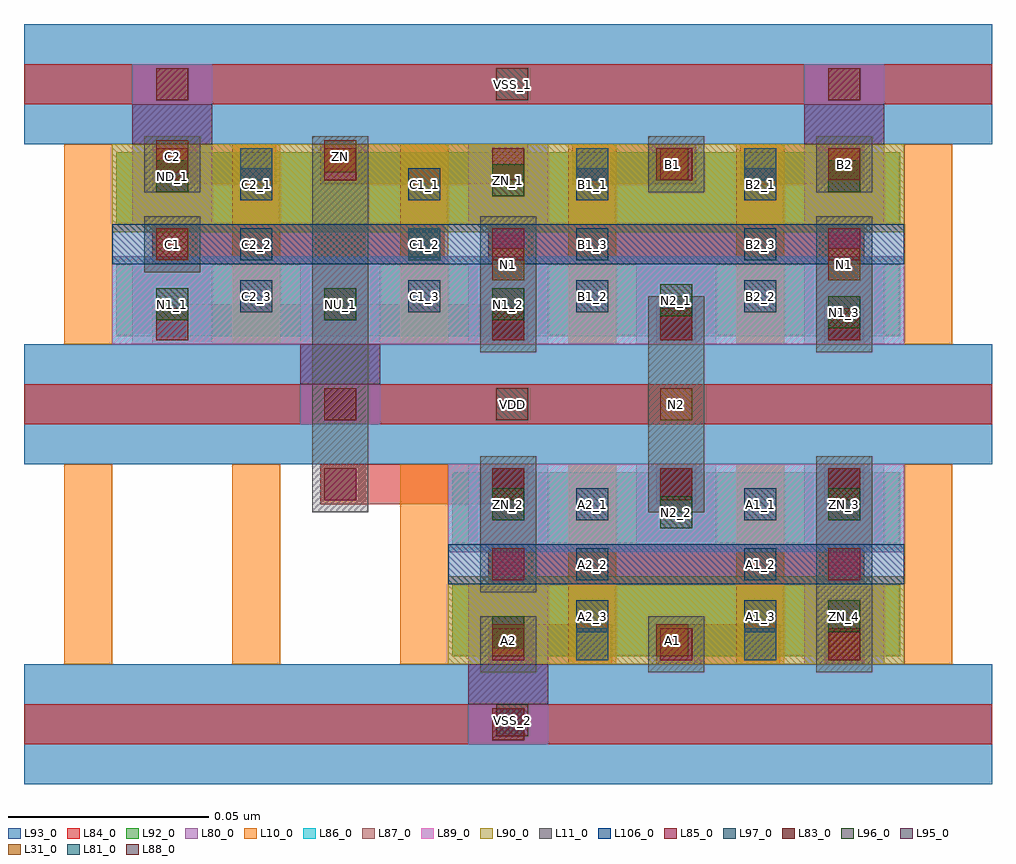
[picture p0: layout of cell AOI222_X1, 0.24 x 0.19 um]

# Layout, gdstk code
import gdstk
lib = gdstk.Library(unit=1e-6, precision=1e-09)
def R(c, l, rs):  # rectangles x0, y0, x1, y1
    for r in rs: c.add(gdstk.rectangle(r[:2], r[2:], *l))
def A(c, l, x, y, w, h, nx, ny, dx, dy):  # array of equal rectangles
    R(c, l, [(x+i*dx, y+j*dy, x+i*dx+w, y+j*dy+h) for i in range(nx) for j in range(ny)])
L10_0 = (10, 0)
L11_0 = (11, 0)
L31_0 = (31, 0)
L80_0 = (80, 0)
L81_0 = (81, 0)
L83_0 = (83, 0)
L84_0 = (84, 0)
L85_0 = (85, 0)
L86_0 = (86, 0)
L87_0 = (87, 0)
L88_0 = (88, 0)
L89_0 = (89, 0)
L90_0 = (90, 0)
L92_0 = (92, 0)
L93_0 = (93, 0)
L95_0 = (95, 0)
L96_0 = (96, 0)
L97_0 = (97, 0)
L106_0 = (106, 0)

aoi222_x1 = lib.new_cell('AOI222_X1')
A(aoi222_x1, L10_0, -0.027, -0.065, 0.012, 0.05, 6, 2, 0.042, 0.08)
A(aoi222_x1, L11_0, 0.035, -0.027, 0.014, 0.034, 1, 4, 0, 0.02)
R(aoi222_x1, L11_0, [(0.077,-0.067,0.091,-0.053), (0.119,-0.067,0.133,-0.053), (0.161,-0.067,0.175,-0.033), (0.077,-0.047,0.091,-0.013), (0.161,-0.047,0.175,-0.013), (0.119,-0.027,0.133,0.007), (0.119,-0.007,0.133,0.027), (0.077,0.013,0.091,0.047), (0.161,0.013,0.175,0.047), (-0.007,0.033,0.007,0.047), (-0.007,0.053,0.007,0.067), (0.119,0.053,0.133,0.067), (0.161,0.053,0.175,0.067)])
R(aoi222_x1, L31_0, [(0.08,-0.063,0.088,-0.055), (0.121,-0.063,0.129,-0.055), (0.122,-0.004,0.13,0.004), (0.08,0.031,0.088,0.039), (0.164,0.031,0.172,0.039), (-0.004,0.036,0.004,0.044), (0.121,0.056,0.129,0.064), (0.164,0.056,0.172,0.064), (-0.004,0.058,0.004,0.066), (0.038,0.058,0.046,0.066)])
A(aoi222_x1, L80_0, -0.01, 0.015, 0.02, 0.02, 5, 1, 0.042, 0)
R(aoi222_x1, L80_0, [(0.074,-0.085,0.094,-0.064), (0.074,-0.065,0.094,-0.045), (0.158,-0.065,0.178,-0.045), (0.074,-0.035,0.094,-0.015), (0.074,-0.035,0.094,-0.015), (0.116,-0.035,0.136,-0.015), (0.116,-0.035,0.136,-0.015), (0.158,-0.035,0.178,-0.015), (0.158,-0.035,0.178,-0.015), (0.032,-0.005,0.052,0.016), (-0.01,0.045,0.01,0.065), (-0.01,0.045,0.01,0.065), (0.074,0.045,0.094,0.065), (0.074,0.045,0.094,0.065), (0.158,0.045,0.178,0.065), (0.158,0.045,0.178,0.065), (-0.01,0.056,0.01,0.085), (0.158,0.056,0.178,0.085)])
R(aoi222_x1, L81_0, [(0.101,-0.064,0.109,-0.056), (0.143,-0.064,0.151,-0.056), (0.059,0.036,0.067,0.044), (0.017,0.056,0.025,0.064), (0.101,0.056,0.109,0.064), (0.143,0.056,0.151,0.064)])
A(aoi222_x1, L83_0, 0.08, -0.024, 0.008, 0.008, 3, 2, 0.042, 0.04)
R(aoi222_x1, L83_0, [(0.08,-0.084,0.088,-0.076), (0.164,-0.064,0.172,-0.056), (0.038,-0.004,0.046,0.004), (-0.004,0.016,0.004,0.024), (0.08,0.056,0.088,0.064), (-0.004,0.076,0.004,0.084), (0.164,0.076,0.172,0.084)])
A(aoi222_x1, L84_0, -0.037, -0.085, 0.242, 0.01, 1, 3, 0, 0.08)
A(aoi222_x1, L84_0, 0.163, -0.065, 0.01, 0.01, 1, 3, 0, 0.04)
A(aoi222_x1, L84_0, 0.079, -0.045, 0.031, 0.01, 4, 2, 0.021, 0.08)
A(aoi222_x1, L84_0, -0.005, 0.015, 0.031, 0.01, 4, 1, 0.021, 0)
A(aoi222_x1, L84_0, 0.058, 0.055, 0.031, 0.01, 3, 1, 0.042, 0)
R(aoi222_x1, L84_0, [(0.079,-0.065,0.11,-0.055), (0.121,-0.065,0.152,-0.055), (0.037,-0.025,0.068,-0.015), (0.058,-0.025,0.089,-0.015), (0.121,-0.025,0.131,-0.015), (0.121,0.015,0.131,0.025), (-0.005,0.035,0.068,0.045), (-0.005,0.055,0.026,0.065), (0.037,0.055,0.068,0.065)])
A(aoi222_x1, L85_0, 0.08, -0.064, 0.008, 0.008, 3, 2, 0.042, 0.08)
A(aoi222_x1, L85_0, 0.038, -0.024, 0.008, 0.008, 4, 1, 0.042, 0)
A(aoi222_x1, L85_0, -0.004, 0.036, 0.008, 0.008, 3, 1, 0.084, 0)
R(aoi222_x1, L85_0, [(0.08,-0.044,0.088,-0.036), (0.164,-0.044,0.172,-0.036), (-0.004,0.056,0.004,0.064), (0.038,0.056,0.046,0.064), (0.122,0.056,0.13,0.064), (0.164,0.056,0.172,0.064)])
R(aoi222_x1, L86_0, [(0.069,-0.037,0.183,-0.015), (-0.015,0.015,0.183,0.037)])
R(aoi222_x1, L87_0, [(0.069,-0.065,0.183,-0.043), (-0.015,0.043,0.183,0.065)])
R(aoi222_x1, L88_0, [(0.081,-0.083,0.089,-0.075), (0.081,-0.004,0.089,0.004), (0.081,0.076,0.089,0.084)])
R(aoi222_x1, L89_0, [(0.069,-0.037,0.183,-0.015), (-0.015,0.015,0.183,0.037)])
R(aoi222_x1, L90_0, [(0.069,-0.065,0.183,-0.043), (-0.015,0.043,0.183,0.065)])
R(aoi222_x1, L92_0, [(0.07,-0.063,0.182,-0.045), (0.07,-0.035,0.182,-0.017), (-0.014,0.017,0.182,0.035), (-0.014,0.045,0.182,0.063)])
A(aoi222_x1, L93_0, -0.037, -0.095, 0.242, 0.03, 1, 3, 0, 0.08)
R(aoi222_x1, L95_0, [(0.074,-0.075,0.094,-0.065), (0.032,0.005,0.052,0.015), (-0.01,0.065,0.01,0.075), (0.158,0.065,0.178,0.075)])
A(aoi222_x1, L96_0, -0.004, 0.021, 0.008, 0.008, 3, 1, 0.042, 0)
R(aoi222_x1, L96_0, [(0.08,-0.061,0.088,-0.053), (0.164,-0.057,0.172,-0.049), (0.122,-0.031,0.13,-0.023), (0.08,-0.029,0.088,-0.021), (0.164,-0.029,0.172,-0.021), (0.164,0.019,0.172,0.027), (0.122,0.022,0.13,0.03), (0.08,0.052,0.088,0.06), (-0.004,0.053,0.004,0.061), (0.164,0.053,0.172,0.061)])
A(aoi222_x1, L97_0, 0.017, 0.023, 0.008, 0.008, 4, 2, 0.042, 0.013)
A(aoi222_x1, L97_0, 0.017, 0.051, 0.008, 0.008, 4, 1, 0.042, 0)
R(aoi222_x1, L97_0, [(0.101,-0.057,0.109,-0.049), (0.143,-0.057,0.151,-0.049), (0.101,-0.044,0.109,-0.036), (0.143,-0.044,0.151,-0.036), (0.101,-0.029,0.109,-0.021), (0.143,-0.029,0.151,-0.021)])
R(aoi222_x1, L106_0, [(0.069,-0.045,0.183,-0.035), (-0.015,0.035,0.183,0.045)])
aoi222_x1.add(gdstk.Label('VDD', (0.085,0), layer=88, texttype=0))
aoi222_x1.add(gdstk.Label('VSS_1', (0.085,0.08), layer=88, texttype=0))
aoi222_x1.add(gdstk.Label('VSS_2', (0.085,-0.079), layer=88, texttype=0))
aoi222_x1.add(gdstk.Label('N2', (0.126,0), layer=31, texttype=0))
aoi222_x1.add(gdstk.Label('N1', (0.168,0.035), layer=31, texttype=0))
aoi222_x1.add(gdstk.Label('N1', (0.084,0.035), layer=31, texttype=0))
aoi222_x1.add(gdstk.Label('A2', (0.084,-0.059), layer=31, texttype=0))
aoi222_x1.add(gdstk.Label('ZN', (0.042,0.062), layer=31, texttype=0))
aoi222_x1.add(gdstk.Label('A1', (0.125,-0.059), layer=31, texttype=0))
aoi222_x1.add(gdstk.Label('B2', (0.168,0.06), layer=31, texttype=0))
aoi222_x1.add(gdstk.Label('B1', (0.125,0.06), layer=31, texttype=0))
aoi222_x1.add(gdstk.Label('C1', (0,0.04), layer=31, texttype=0))
aoi222_x1.add(gdstk.Label('C2', (0,0.062), layer=31, texttype=0))
aoi222_x1.add(gdstk.Label('A1_3', (0.147,-0.053), layer=97, texttype=0))
aoi222_x1.add(gdstk.Label('A1_2', (0.147,-0.04), layer=97, texttype=0))
aoi222_x1.add(gdstk.Label('A1_1', (0.147,-0.025), layer=97, texttype=0))
aoi222_x1.add(gdstk.Label('A2_1', (0.105,-0.025), layer=97, texttype=0))
aoi222_x1.add(gdstk.Label('A2_2', (0.105,-0.04), layer=97, texttype=0))
aoi222_x1.add(gdstk.Label('A2_3', (0.105,-0.053), layer=97, texttype=0))
aoi222_x1.add(gdstk.Label('B2_2', (0.147,0.027), layer=97, texttype=0))
aoi222_x1.add(gdstk.Label('B2_1', (0.147,0.055), layer=97, texttype=0))
aoi222_x1.add(gdstk.Label('B2_3', (0.147,0.04), layer=97, texttype=0))
aoi222_x1.add(gdstk.Label('B1_1', (0.105,0.055), layer=97, texttype=0))
aoi222_x1.add(gdstk.Label('B1_3', (0.105,0.04), layer=97, texttype=0))
aoi222_x1.add(gdstk.Label('B1_2', (0.105,0.027), layer=97, texttype=0))
aoi222_x1.add(gdstk.Label('C2_1', (0.021,0.055), layer=97, texttype=0))
aoi222_x1.add(gdstk.Label('C2_2', (0.021,0.04), layer=97, texttype=0))
aoi222_x1.add(gdstk.Label('C2_3', (0.021,0.027), layer=97, texttype=0))
aoi222_x1.add(gdstk.Label('C1_1', (0.063,0.055), layer=97, texttype=0))
aoi222_x1.add(gdstk.Label('C1_2', (0.063,0.04), layer=97, texttype=0))
aoi222_x1.add(gdstk.Label('C1_3', (0.063,0.027), layer=97, texttype=0))
aoi222_x1.add(gdstk.Label('N2_1', (0.126,0.026), layer=96, texttype=0))
aoi222_x1.add(gdstk.Label('N2_2', (0.126,-0.027), layer=96, texttype=0))
aoi222_x1.add(gdstk.Label('N1_1', (0,0.025), layer=96, texttype=0))
aoi222_x1.add(gdstk.Label('N1_2', (0.084,0.025), layer=96, texttype=0))
aoi222_x1.add(gdstk.Label('N1_3', (0.168,0.023), layer=96, texttype=0))
aoi222_x1.add(gdstk.Label('ZN_1', (0.084,0.056), layer=96, texttype=0))
aoi222_x1.add(gdstk.Label('ZN_2', (0.084,-0.025), layer=96, texttype=0))
aoi222_x1.add(gdstk.Label('ZN_3', (0.168,-0.025), layer=96, texttype=0))
aoi222_x1.add(gdstk.Label('ZN_4', (0.168,-0.053), layer=96, texttype=0))
aoi222_x1.add(gdstk.Label('NU_1', (0.042,0.025), layer=96, texttype=0))
aoi222_x1.add(gdstk.Label('ND_3', (0.084,-0.057), layer=96, texttype=0))
aoi222_x1.add(gdstk.Label('ND_2', (0.168,0.057), layer=96, texttype=0))
aoi222_x1.add(gdstk.Label('ND_1', (0,0.057), layer=96, texttype=0))

lib.write_gds('AOI222_X1.gds')
